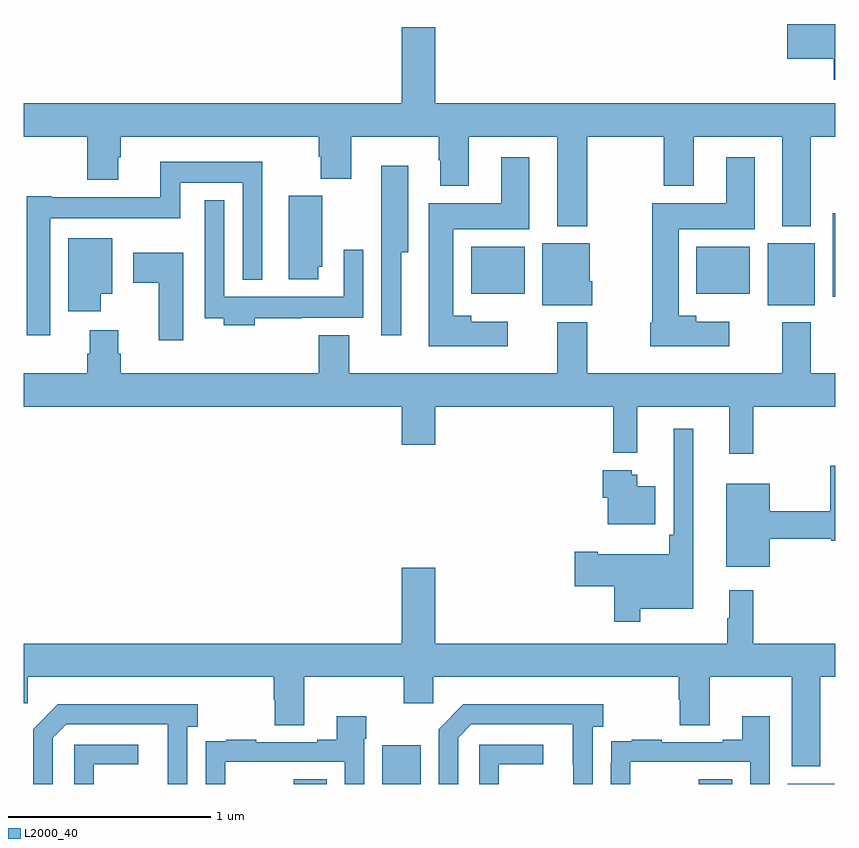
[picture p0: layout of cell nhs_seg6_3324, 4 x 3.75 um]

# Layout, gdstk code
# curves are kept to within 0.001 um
import gdstk
lib = gdstk.Library(unit=1e-6, precision=1e-09)
def R(c, l, rs):  # rectangles x0, y0, x1, y1
    for r in rs: c.add(gdstk.rectangle(r[:2], r[2:], *l))
def P(c, l, *ps):  # polygons
    for p in ps: c.add(gdstk.Polygon(p, *l))
L2000_40 = (2000, 40)

nhs_seg6_3324 = lib.new_cell('nhs_seg6_3324')
R(nhs_seg6_3324, L2000_40, [(308.33,921.5,308.494,921.524), (308.768,921.5,308.956,921.691), (310.328,921.5,310.492,921.524), (310.766,921.5,310.999,921.502), (310.667,923.861,310.9,924.166), (310.988,923.903,311,924.313), (309.206,923.918,309.469,924.148), (310.316,923.918,310.579,924.148)])
P(nhs_seg6_3324, L2000_40, [(311,925.247),(310.764,925.247),(310.764,925.076),(310.994,925.076),(310.994,924.971),(311,924.971)],
  [(309.028,925.231),(308.864,925.231),(308.864,924.856),(307,924.856),(307,924.692),(307.313,924.692),(307.313,924.479),(307.465,924.479),(307.465,924.591),(307.478,924.591),(307.478,924.692),(308.453,924.692),(308.453,924.593),(308.465,924.593),(308.465,924.484),(308.613,924.484),(308.613,924.692),(309.046,924.692),(309.046,924.576),(309.053,924.576),(309.053,924.449),(309.193,924.449),(309.193,924.692),(309.629,924.692),(309.629,924.251),(309.777,924.251),(309.777,924.692),(310.156,924.692),(310.156,924.449),(310.303,924.449),(310.303,924.692),(310.739,924.692),(310.739,924.251),(310.879,924.251),(310.879,924.692),(311,924.692),(311,924.856),(309.028,924.856)],
  [(309.385,923.779),(309.205,923.779),(309.205,923.809),(309.118,923.809),(309.118,924.236),(309.493,924.236),(309.493,924.589),(309.353,924.589),(309.353,924.364),(308.996,924.364),(308.996,923.657),(309.385,923.657)],
  [(310.477,923.779),(310.315,923.779),(310.315,923.809),(310.228,923.809),(310.228,924.236),(310.603,924.236),(310.603,924.589),(310.463,924.589),(310.463,924.364),(310.099,924.364),(310.099,923.775),(310.088,923.775),(310.088,923.657),(310.477,923.657)],
  [(307.131,924.29),(307.77,924.29),(307.77,924.464),(308.079,924.464),(308.079,923.987),(308.176,923.987),(308.176,924.568),(307.673,924.568),(307.673,924.394),(307.138,924.394),(307.138,924.397),(307.015,924.397),(307.015,923.712),(307.131,923.712)],
  [(308.86,924.122),(308.896,924.122),(308.896,924.547),(308.762,924.547),(308.762,924.226),(308.763,924.226),(308.763,923.712),(308.86,923.712)],
  [(308.452,924.051),(308.47,924.051),(308.47,924.399),(308.306,924.399),(308.306,923.988),(308.452,923.988)],
  [(308.138,923.796),(308.369,923.796),(308.369,923.798),(308.673,923.798),(308.673,924.133),(308.577,924.133),(308.577,923.902),(307.989,923.902),(307.989,924.379),(307.893,924.379),(307.893,923.796),(307.985,923.796),(307.985,923.762),(308.138,923.762)],
  [(307.378,923.918),(307.435,923.918),(307.435,924.19),(307.22,924.19),(307.22,923.832),(307.378,923.832)],
  [(309.802,923.979),(309.79,923.979),(309.79,924.166),(309.557,924.166),(309.557,923.861),(309.802,923.861)],
  [(307.786,924.118),(307.539,924.118),(307.539,923.971),(307.664,923.971),(307.664,923.688),(307.786,923.688)],
  [(310.595,923.36),(311,923.36),(311,923.524),(310.879,923.524),(310.879,923.776),(310.739,923.776),(310.739,923.524),(309.777,923.524),(309.777,923.776),(309.629,923.776),(309.629,923.524),(308.605,923.524),(308.605,923.713),(308.453,923.713),(308.453,923.524),(307.478,923.524),(307.478,923.622),(307.465,923.622),(307.465,923.737),(307.325,923.737),(307.325,923.622),(307.313,923.622),(307.313,923.524),(307,923.524),(307,923.36),(308.864,923.36),(308.864,923.172),(309.028,923.172),(309.028,923.36),(309.907,923.36),(309.907,923.132),(310.025,923.132),(310.025,923.36),(310.478,923.36),(310.478,923.127),(310.595,923.127)],
  [(310.039,922.364),(310.3,922.364),(310.3,923.251),(310.203,923.251),(310.203,922.729),(310.183,922.729),(310.183,922.633),(309.829,922.633),(309.829,922.646),(309.717,922.646),(309.717,922.475),(309.91,922.475),(309.91,922.299),(310.039,922.299)],
  [(310.678,922.708),(310.98,922.708),(310.98,922.7),(311,922.7),(311,923.068),(310.976,923.068),(310.976,922.844),(310.678,922.844),(310.678,922.981),(310.463,922.981),(310.463,922.571),(310.678,922.571)],
  [(310.114,922.969),(310.024,922.969),(310.024,923.025),(309.996,923.025),(309.996,923.047),(309.854,923.047),(309.854,922.911),(309.878,922.911),(309.878,922.781),(310.114,922.781)],
  [(310.927,922.028),(311,922.028),(311,922.192),(310.595,922.192),(310.595,922.456),(310.478,922.456),(310.478,922.316),(310.467,922.316),(310.467,922.192),(309.028,922.192),(309.028,922.567),(308.864,922.567),(308.864,922.192),(307,922.192),(307,921.897),(307.02,921.897),(307.02,922.028),(308.231,922.028),(308.231,921.915),(308.236,921.915),(308.236,921.79),(308.383,921.79),(308.383,922.028),(308.872,922.028),(308.872,921.897),(309.018,921.897),(309.018,922.028),(310.229,922.028),(310.229,921.915),(310.234,921.915),(310.234,921.79),(310.381,921.79),(310.381,922.028),(310.787,922.028),(310.787,921.587),(310.927,921.587)],
  [(307.143,921.729),(307.209,921.795),(307.709,921.795),(307.71,921.5),(307.806,921.5),(307.806,921.782),(307.858,921.782),(307.858,921.892),(307.168,921.892),(307.047,921.771),(307.047,921.5),(307.143,921.5)],
  [(309.141,921.729),(309.207,921.795),(309.707,921.795),(309.708,921.5),(309.804,921.5),(309.804,921.782),(309.856,921.782),(309.856,921.892),(309.166,921.892),(309.045,921.771),(309.045,921.5),(309.141,921.5)],
  [(309.99,921.609),(310.581,921.609),(310.581,921.5),(310.677,921.5),(310.677,921.835),(310.541,921.835),(310.541,921.718),(310.445,921.718),(310.445,921.705),(310.145,921.705),(310.145,921.718),(309.997,921.718),(309.997,921.711),(309.895,921.711),(309.895,921.602),(309.894,921.602),(309.894,921.5),(309.99,921.5)],
  [(307.992,921.609),(308.583,921.609),(308.583,921.5),(308.679,921.5),(308.679,921.722),(308.688,921.722),(308.688,921.835),(308.543,921.835),(308.543,921.718),(308.447,921.718),(308.447,921.705),(308.147,921.705),(308.147,921.718),(307.999,921.718),(307.999,921.711),(307.897,921.711),(307.897,921.602),(307.896,921.602),(307.896,921.5),(307.992,921.5)],
  [(307.344,921.597),(307.564,921.597),(307.564,921.693),(307.248,921.693),(307.248,921.5),(307.344,921.5)],
  [(309.342,921.597),(309.562,921.597),(309.562,921.693),(309.246,921.693),(309.246,921.5),(309.342,921.5)])

lib.write_gds('nhs_seg6_3324.gds')
